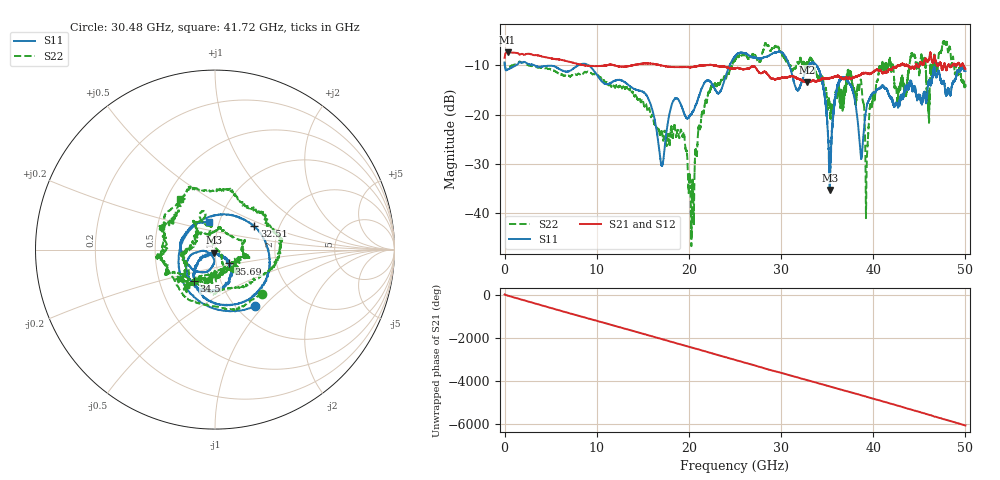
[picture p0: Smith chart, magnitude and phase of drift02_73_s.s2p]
!Created with skrf (http://scikit-rf.org).
# Hz S RI R 50.0
!freq ReS11 ImS11 ReS21 ImS21 ReS12 ImS12 ReS22 ImS22
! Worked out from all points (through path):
!   10001 points, 300 kHz to 50 GHz, reference 50 ohm
!   highest |S21| = -7.31 dB at 325.3 MHz (marker M1); lowest = -13.5 dB at 32.78 GHz (marker M2)
!   group delay of S21, straight-line fit = 335 ps
!   lowest |S11| = -35.3 dB at 35.28 GHz (marker M3), VSWR 1.03, Z = 49.7 - j1.67 ohm
!   |S11| at or under -10 dB: 3.226 GHz to 8.007 GHz (4.78 GHz wide, 85.1 % of centre); 9.106 GHz to 24.42 GHz (15.31 GHz wide, 91.3 % of centre); 33.83 GHz to end of sweep (the widest 3 of 7)
!   |S22| runs from -46.8 to -4.9 dB; largest |S21 - S12| = 0.014
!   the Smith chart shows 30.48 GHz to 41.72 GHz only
!   S11 on the Smith chart (normalised r, x): 30.48 GHz: 1.21, -0.89; 32.51 GHz: 1.49, +0.41; 34.5 GHz: 0.75, -0.27; 35.69 GHz: 1.15, -0.18; 41.72 GHz: 0.90, +0.29
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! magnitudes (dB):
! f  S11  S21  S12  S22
! 300 kHz  -9.4  -8.5  -8.4  -9.4
! 325.3 MHz  -10.9  -7.3  -7.3  -10.6
! 8.335 GHz  -9.7  -9.9  -9.9  -11.6
! 16.67 GHz  -25.5  -9.9  -9.9  -22.8
! 19.31 GHz  -18.9  -10.4  -10.4  -24.5
! 20.37 GHz  -19.6  -10.3  -10.3  -34.0
! 21.94 GHz  -13.1  -9.9  -9.9  -17.2
! 25 GHz  -8.2  -10.6  -10.6  -9.0
! 30.48 GHz  -8.3  -12.5  -12.4  -8.9
! 32.51 GHz  -11.9  -13.3  -13.2  -9.4
! 32.78 GHz  -10.7  -13.5  -13.5  -9.6
! 33.34 GHz  -9.5  -13.1  -13.2  -8.9
! 34.5 GHz  -13.5  -12.7  -12.8  -12.3
! 35.28 GHz  -35.3  -12.5  -12.5  -19.0
! 35.69 GHz  -19.2  -12.4  -12.5  -19.2
! 37.11 GHz  -12.8  -12.5  -12.3  -12.9
! 38.54 GHz  -25.9  -12.0  -12.0  -14.3
! 39.32 GHz  -18.1  -11.6  -11.6  -28.8
! 41.67 GHz  -15.8  -10.9  -11.1  -9.7
! 41.72 GHz  -16.0  -10.9  -10.9  -9.3
! 47.77 GHz  -14.5  -9.8  -9.7  -5.6
! 50 GHz  -11.1  -10.8  -10.8  -14.1
